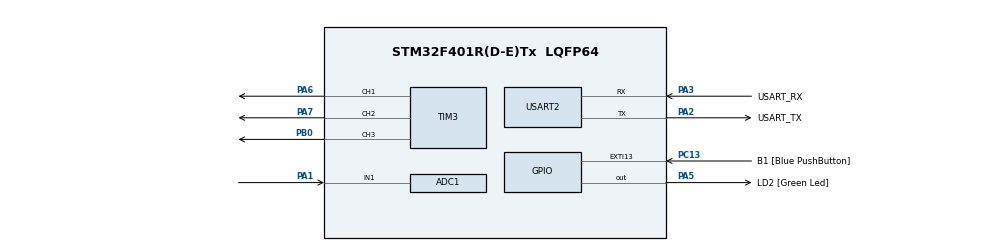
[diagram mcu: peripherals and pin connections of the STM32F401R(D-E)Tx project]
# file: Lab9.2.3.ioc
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ADC1.Channel-0\#ChannelRegularConversion=ADC_CHANNEL_1
ADC1.EOCSelection=ADC_EOC_SEQ_CONV
ADC1.ExternalTrigConv=ADC_SOFTWARE_START
ADC1.NbrOfConversionFlag=1
ADC1.Rank-0\#ChannelRegularConversion=1
ADC1.Resolution=ADC_RESOLUTION_8B
ADC1.SamplingTime-0\#ChannelRegularConversion=ADC_SAMPLETIME_3CYCLES
ADC1.master=1
Mcu.Family=STM32F4
Mcu.Name=STM32F401R(D-E)Tx
Mcu.Package=LQFP64
NVIC.ADC_IRQn=true\:0\:0\:false\:false\:true\:true\:true\:true
NVIC.EXTI15_10_IRQn=true\:0\:0\:false\:false\:true\:true\:true\:true
NVIC.PriorityGroup=NVIC_PRIORITYGROUP_1
NVIC.TIM3_IRQn=true\:0\:0\:false\:false\:true\:true\:true\:true
NVIC.TIM4_IRQn=true\:0\:0\:false\:false\:true\:true\:true\:true
PA1.Signal=ADCx_IN1
PA13.GPIO_Label=TMS
PA13.Mode=Trace_Asynchronous_SW
PA13.Signal=SYS_JTMS-SWDIO
PA14.GPIO_Label=TCK
PA14.Mode=Trace_Asynchronous_SW
PA14.Signal=SYS_JTCK-SWCLK
PA2.GPIO_Label=USART_TX
PA2.GPIO_Mode=GPIO_MODE_AF_PP
PA2.GPIO_PuPd=GPIO_NOPULL
PA2.GPIO_Speed=GPIO_SPEED_FREQ_LOW
PA2.Mode=Asynchronous
PA2.Signal=USART2_TX
PA3.GPIO_Label=USART_RX
PA3.GPIO_Mode=GPIO_MODE_AF_PP
PA3.GPIO_PuPd=GPIO_NOPULL
PA3.GPIO_Speed=GPIO_SPEED_FREQ_LOW
PA3.Mode=Asynchronous
PA3.Signal=USART2_RX
PA5.GPIO_Label=LD2 [Green Led]
PA5.GPIO_Mode=GPIO_MODE_OUTPUT_PP
PA5.GPIO_PuPd=GPIO_NOPULL
PA5.GPIO_Speed=GPIO_SPEED_FREQ_LOW
PA5.Signal=GPIO_Output
PA6.Signal=S_TIM3_CH1
PA7.Signal=S_TIM3_CH2
PB0.Signal=S_TIM3_CH3
PB3.GPIO_Label=SWO
PB3.Mode=Trace_Asynchronous_SW
PB3.Signal=SYS_JTDO-SWO
PC13-ANTI_TAMP.GPIO_Label=B1 [Blue PushButton]
PC13-ANTI_TAMP.GPIO_ModeDefaultEXTI=GPIO_MODE_IT_FALLING
PC13-ANTI_TAMP.GPIO_PuPd=GPIO_NOPULL
PC13-ANTI_TAMP.Signal=GPXTI13
PC14-OSC32_IN.Mode=LSE-External-Oscillator
PC14-OSC32_IN.Signal=RCC_OSC32_IN
PC15-OSC32_OUT.Mode=LSE-External-Oscillator
PC15-OSC32_OUT.Signal=RCC_OSC32_OUT
PH0\ -\ OSC_IN.Mode=HSE-External-Clock-Source
PH0\ -\ OSC_IN.Signal=RCC_OSC_IN
PH1\ -\ OSC_OUT.Mode=HSE-External-Clock-Source
PH1\ -\ OSC_OUT.Signal=RCC_OSC_OUT
ProjectManager.HeapSize=0x200
ProjectManager.StackSize=0x400
ProjectManager.TargetToolchain=STM32CubeIDE
RCC.48MHZClocksFreq_Value=48000000
RCC.AHBFreq_Value=84000000
RCC.APB1CLKDivider=RCC_HCLK_DIV2
RCC.APB1Freq_Value=42000000
RCC.APB1TimFreq_Value=84000000
RCC.APB2Freq_Value=84000000
RCC.APB2TimFreq_Value=84000000
RCC.CortexFreq_Value=84000000
RCC.HCLKFreq_Value=84000000
RCC.HSE_VALUE=8000000
RCC.HSI_VALUE=16000000
RCC.PLLN=336
RCC.PLLP=RCC_PLLP_DIV4
RCC.PLLQ=7
RCC.SYSCLKFreq_VALUE=84000000
RCC.SYSCLKSource=RCC_SYSCLKSOURCE_PLLCLK
RCC.VCOOutputFreq_Value=336000000
SH.ADCx_IN1.0=ADC1_IN1,IN1
SH.S_TIM3_CH1.0=TIM3_CH1,Output Compare1 CH1
SH.S_TIM3_CH2.0=TIM3_CH2,Output Compare2 CH2
SH.S_TIM3_CH3.0=TIM3_CH3,Output Compare3 CH3
TIM3.Channel-Output\ Compare1\ CH1=TIM_CHANNEL_1
TIM3.Channel-Output\ Compare2\ CH2=TIM_CHANNEL_2
TIM3.Channel-Output\ Compare3\ CH3=TIM_CHANNEL_3
TIM3.OCMode_1=TIM_OCMODE_TOGGLE
TIM3.OCMode_2=TIM_OCMODE_TOGGLE
TIM3.OCMode_3=TIM_OCMODE_TOGGLE
TIM4.Channel-Output\ Compare2\ No\ Output=TIM_CHANNEL_2
USART2.VirtualMode=VM_ASYNC
VP_TIM3_VS_ClockSourceINT.Mode=Internal
VP_TIM4_VS_ClockSourceINT.Mode=Internal
VP_TIM4_VS_no_output2.Mode=Output Compare2 No Output
board=NUCLEO-F401RE

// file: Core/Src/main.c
/* USER CODE BEGIN Header */
/**
 ******************************************************************************
 * @file           : main.c
 * @brief          : Main program body
 ******************************************************************************
 * @attention
 *
 * Copyright (c) 2025 STMicroelectronics.
 * All rights reserved.
 *
 * This software is licensed under terms that can be found in the LICENSE file
 * in the root directory of this software component.
 * If no LICENSE file comes with this software, it is provided AS-IS.
 *
 ******************************************************************************
 */
/* USER CODE END Header */
#include "main.h"

/* USER CODE BEGIN PV */
uint8_t scalingFactor = 0;
uint16_t voltage = 0;
/* USER CODE END PV */

void SystemClock_Config(void);
static void MX_GPIO_Init(void);
static void MX_USART2_UART_Init(void);
static void MX_ADC1_Init(void);
static void MX_TIM3_Init(void);
static void MX_TIM4_Init(void);

int main(void) {

	/* MCU Configuration--------------------------------------------------------*/

	/* Reset of all peripherals, Initializes the Flash interface and the Systick. */
	LL_APB2_GRP1_EnableClock(LL_APB2_GRP1_PERIPH_SYSCFG);
	LL_APB1_GRP1_EnableClock(LL_APB1_GRP1_PERIPH_PWR);

	/* System interrupt init*/
	NVIC_SetPriorityGrouping(NVIC_PRIORITYGROUP_1);

	/* Configure the system clock */
	SystemClock_Config();

	/* Initialize all configured peripherals */
	MX_GPIO_Init();
	MX_USART2_UART_Init();
	MX_ADC1_Init();
	MX_TIM3_Init();
	MX_TIM4_Init();
	/* USER CODE BEGIN 2 */

	// ---- START TIM3 configuration ----
	LL_TIM_WriteReg(TIM3, PSC, 83);	// Prescaler value
	LL_TIM_WriteReg(TIM3, ARR, 0xFFFF);	// ARR value
	LL_TIM_WriteReg(TIM3, DIER, LL_TIM_ReadReg(TIM3,DIER) | 0b01110);// Enable interrupt for CC1, CC2 and CC3
	LL_TIM_WriteReg(TIM3, CCER, LL_TIM_ReadReg(TIM3, CCER) | 0x0111); // Enable CC1, CC2 and CC3

	LL_TIM_WriteReg(TIM3, CCR1, INTERVAL3 -1);		// Init CCR1
	LL_TIM_WriteReg(TIM3, CCR2, INTERVAL2 -1);		// Init CCR2
	LL_TIM_WriteReg(TIM3, CCR3, INTERVAL1 -1);		// Init CCR3
	// ---- END TIM3 configuration ----

	// ---- START TIM4 configuration ----
	LL_TIM_WriteReg(TIM4, PSC, 41999);	// Prescaler value
	LL_TIM_WriteReg(TIM4, ARR, 0xFFFF);	// ARR value
	LL_TIM_WriteReg(TIM4, DIER, LL_TIM_ReadReg(TIM4,DIER) | 0b0100);// Enable interrupt for CC2
	LL_TIM_WriteReg(TIM4, CCER, LL_TIM_ReadReg(TIM4, CCER) | 0x0010); // Enable CC2
	//LL_TIM_WriteReg(TIM4, CCMR1,LL_TIM_ReadReg(TIM4, CCMR1) | 0b00110000);

	LL_TIM_WriteReg(TIM4, CCR2, ADCINTERVAL -1);		// Init CCR2
	// ---- END TIM3 configuration ----

	// ---- START ADC1 configuration ----
	LL_ADC_WriteReg(ADC1, CR2, LL_ADC_ReadReg(ADC1,CR2) | 0x01); // Enable ADC1
	// ---- END ADC1 configuration ----

	// Enable peripherals
	LL_TIM_WriteReg(TIM3, CR1, LL_TIM_ReadReg(TIM3,CR1) | 0x01);
	LL_TIM_WriteReg(TIM4, CR1, LL_TIM_ReadReg(TIM4,CR1) | 0x01);

	/* USER CODE END 2 */

	/* Infinite loop */
	/* USER CODE BEGIN WHILE */
	while (1) {

		if ((LL_ADC_ReadReg(ADC1,SR) & 0x02) == 0x02) {
			voltage = LL_ADC_ReadReg(ADC1, DR) & 0x00FF;// Get converted value
			scalingFactor = 1 + (voltage * (10 - 1)) / 255;
			LL_ADC_WriteReg(ADC1, SR, LL_ADC_ReadReg(ADC1,SR) & (~0x02));// Clear EOC
		}

		/* USER CODE END WHILE */

	}
}

void SystemClock_Config(void) {
	LL_FLASH_SetLatency(LL_FLASH_LATENCY_2);
	while (LL_FLASH_GetLatency() != LL_FLASH_LATENCY_2) {
	}
	LL_PWR_SetRegulVoltageScaling(LL_PWR_REGU_VOLTAGE_SCALE2);
	LL_RCC_HSI_SetCalibTrimming(16);
	LL_RCC_HSI_Enable();

	/* Wait till HSI is ready */
	while (LL_RCC_HSI_IsReady() != 1) {

	}
	LL_RCC_PLL_ConfigDomain_SYS(LL_RCC_PLLSOURCE_HSI, LL_RCC_PLLM_DIV_16, 336,
			LL_RCC_PLLP_DIV_4);
	LL_RCC_PLL_Enable();

	/* Wait till PLL is ready */
	while (LL_RCC_PLL_IsReady() != 1) {

	}
	while (LL_PWR_IsActiveFlag_VOS() == 0) {
	}
	LL_RCC_SetAHBPrescaler(LL_RCC_SYSCLK_DIV_1);
	LL_RCC_SetAPB1Prescaler(LL_RCC_APB1_DIV_2);
	LL_RCC_SetAPB2Prescaler(LL_RCC_APB2_DIV_1);
	LL_RCC_SetSysClkSource(LL_RCC_SYS_CLKSOURCE_PLL);

	/* Wait till System clock is ready */
	while (LL_RCC_GetSysClkSource() != LL_RCC_SYS_CLKSOURCE_STATUS_PLL) {

	}
	LL_Init1msTick(84000000);
	LL_SetSystemCoreClock(84000000);
	LL_RCC_SetTIMPrescaler(LL_RCC_TIM_PRESCALER_TWICE);
}

static void MX_ADC1_Init(void) {

	LL_ADC_InitTypeDef ADC_InitStruct = { 0 };
	LL_ADC_REG_InitTypeDef ADC_REG_InitStruct = { 0 };
	LL_ADC_CommonInitTypeDef ADC_CommonInitStruct = { 0 };

	LL_GPIO_InitTypeDef GPIO_InitStruct = { 0 };

	/* Peripheral clock enable */
	LL_APB2_GRP1_EnableClock(LL_APB2_GRP1_PERIPH_ADC1);

	LL_AHB1_GRP1_EnableClock(LL_AHB1_GRP1_PERIPH_GPIOA);
	/**ADC1 GPIO Configuration
	 PA1   ------> ADC1_IN1
	 */
	GPIO_InitStruct.Pin = LL_GPIO_PIN_1;
	GPIO_InitStruct.Mode = LL_GPIO_MODE_ANALOG;
	GPIO_InitStruct.Pull = LL_GPIO_PULL_NO;
	LL_GPIO_Init(GPIOA, &GPIO_InitStruct);

	/* ADC1 interrupt Init */
	NVIC_SetPriority(ADC_IRQn,
			NVIC_EncodePriority(NVIC_GetPriorityGrouping(), 0, 0));
	NVIC_EnableIRQ(ADC_IRQn);

	/** Common config
	 */
	ADC_InitStruct.Resolution = LL_ADC_RESOLUTION_8B;
	ADC_InitStruct.DataAlignment = LL_ADC_DATA_ALIGN_RIGHT;
	ADC_InitStruct.SequencersScanMode = LL_ADC_SEQ_SCAN_DISABLE;
	LL_ADC_Init(ADC1, &ADC_InitStruct);
	ADC_REG_InitStruct.TriggerSource = LL_ADC_REG_TRIG_SOFTWARE;
	ADC_REG_InitStruct.SequencerLength = LL_ADC_REG_SEQ_SCAN_DISABLE;
	ADC_REG_InitStruct.SequencerDiscont = LL_ADC_REG_SEQ_DISCONT_DISABLE;
	ADC_REG_InitStruct.ContinuousMode = LL_ADC_REG_CONV_SINGLE;
	ADC_REG_InitStruct.DMATransfer = LL_ADC_REG_DMA_TRANSFER_NONE;
	LL_ADC_REG_Init(ADC1, &ADC_REG_InitStruct);
	LL_ADC_REG_SetFlagEndOfConversion(ADC1, LL_ADC_REG_FLAG_EOC_SEQUENCE_CONV);
	ADC_CommonInitStruct.CommonClock = LL_ADC_CLOCK_SYNC_PCLK_DIV4;
	LL_ADC_CommonInit(__LL_ADC_COMMON_INSTANCE(ADC1), &ADC_CommonInitStruct);

	/** Configure Regular Channel
	 */
	LL_ADC_REG_SetSequencerRanks(ADC1, LL_ADC_REG_RANK_1, LL_ADC_CHANNEL_1);
	LL_ADC_SetChannelSamplingTime(ADC1, LL_ADC_CHANNEL_1,
			LL_ADC_SAMPLINGTIME_3CYCLES);

}

static void MX_TIM3_Init(void) {

	LL_TIM_InitTypeDef TIM_InitStruct = { 0 };
	LL_TIM_OC_InitTypeDef TIM_OC_InitStruct = { 0 };

	LL_GPIO_InitTypeDef GPIO_InitStruct = { 0 };

	/* Peripheral clock enable */
	LL_APB1_GRP1_EnableClock(LL_APB1_GRP1_PERIPH_TIM3);

	/* TIM3 interrupt Init */
	NVIC_SetPriority(TIM3_IRQn,
			NVIC_EncodePriority(NVIC_GetPriorityGrouping(), 0, 0));
	NVIC_EnableIRQ(TIM3_IRQn);

	TIM_InitStruct.Prescaler = 0;
	TIM_InitStruct.CounterMode = LL_TIM_COUNTERMODE_UP;
	TIM_InitStruct.Autoreload = 65535;
	TIM_InitStruct.ClockDivision = LL_TIM_CLOCKDIVISION_DIV1;
	LL_TIM_Init(TIM3, &TIM_InitStruct);
	LL_TIM_DisableARRPreload(TIM3);
	LL_TIM_SetClockSource(TIM3, LL_TIM_CLOCKSOURCE_INTERNAL);
	TIM_OC_InitStruct.OCMode = LL_TIM_OCMODE_TOGGLE;
	TIM_OC_InitStruct.OCState = LL_TIM_OCSTATE_DISABLE;
	TIM_OC_InitStruct.OCNState = LL_TIM_OCSTATE_DISABLE;
	TIM_OC_InitStruct.CompareValue = 0;
	TIM_OC_InitStruct.OCPolarity = LL_TIM_OCPOLARITY_HIGH;
	LL_TIM_OC_Init(TIM3, LL_TIM_CHANNEL_CH1, &TIM_OC_InitStruct);
	LL_TIM_OC_DisableFast(TIM3, LL_TIM_CHANNEL_CH1);
	LL_TIM_OC_Init(TIM3, LL_TIM_CHANNEL_CH2, &TIM_OC_InitStruct);
	LL_TIM_OC_DisableFast(TIM3, LL_TIM_CHANNEL_CH2);
	LL_TIM_OC_Init(TIM3, LL_TIM_CHANNEL_CH3, &TIM_OC_InitStruct);
	LL_TIM_OC_DisableFast(TIM3, LL_TIM_CHANNEL_CH3);
	LL_TIM_SetTriggerOutput(TIM3, LL_TIM_TRGO_RESET);
	LL_TIM_DisableMasterSlaveMode(TIM3);
	LL_AHB1_GRP1_EnableClock(LL_AHB1_GRP1_PERIPH_GPIOA);
	LL_AHB1_GRP1_EnableClock(LL_AHB1_GRP1_PERIPH_GPIOB);
	/**TIM3 GPIO Configuration
	 PA6   ------> TIM3_CH1
	 PA7   ------> TIM3_CH2
	 PB0   ------> TIM3_CH3
	 */
	GPIO_InitStruct.Pin = LL_GPIO_PIN_6 | LL_GPIO_PIN_7;
	GPIO_InitStruct.Mode = LL_GPIO_MODE_ALTERNATE;
	GPIO_InitStruct.Speed = LL_GPIO_SPEED_FREQ_LOW;
	GPIO_InitStruct.OutputType = LL_GPIO_OUTPUT_PUSHPULL;
	GPIO_InitStruct.Pull = LL_GPIO_PULL_NO;
	GPIO_InitStruct.Alternate = LL_GPIO_AF_2;
	LL_GPIO_Init(GPIOA, &GPIO_InitStruct);

	GPIO_InitStruct.Pin = LL_GPIO_PIN_0;
	GPIO_InitStruct.Mode = LL_GPIO_MODE_ALTERNATE;
	GPIO_InitStruct.Speed = LL_GPIO_SPEED_FREQ_LOW;
	GPIO_InitStruct.OutputType = LL_GPIO_OUTPUT_PUSHPULL;
	GPIO_InitStruct.Pull = LL_GPIO_PULL_NO;
	GPIO_InitStruct.Alternate = LL_GPIO_AF_2;
	LL_GPIO_Init(GPIOB, &GPIO_InitStruct);

}

static void MX_TIM4_Init(void) {

	LL_TIM_InitTypeDef TIM_InitStruct = { 0 };
	LL_TIM_OC_InitTypeDef TIM_OC_InitStruct = { 0 };

	/* Peripheral clock enable */
	LL_APB1_GRP1_EnableClock(LL_APB1_GRP1_PERIPH_TIM4);

	/* TIM4 interrupt Init */
	NVIC_SetPriority(TIM4_IRQn,
			NVIC_EncodePriority(NVIC_GetPriorityGrouping(), 0, 0));
	NVIC_EnableIRQ(TIM4_IRQn);

	TIM_InitStruct.Prescaler = 0;
	TIM_InitStruct.CounterMode = LL_TIM_COUNTERMODE_UP;
	TIM_InitStruct.Autoreload = 65535;
	TIM_InitStruct.ClockDivision = LL_TIM_CLOCKDIVISION_DIV1;
	LL_TIM_Init(TIM4, &TIM_InitStruct);
	LL_TIM_DisableARRPreload(TIM4);
	LL_TIM_SetClockSource(TIM4, LL_TIM_CLOCKSOURCE_INTERNAL);
	TIM_OC_InitStruct.OCMode = LL_TIM_OCMODE_FROZEN;
	TIM_OC_InitStruct.OCState = LL_TIM_OCSTATE_DISABLE;
	TIM_OC_InitStruct.OCNState = LL_TIM_OCSTATE_DISABLE;
	TIM_OC_InitStruct.CompareValue = 0;
	TIM_OC_InitStruct.OCPolarity = LL_TIM_OCPOLARITY_HIGH;
	LL_TIM_OC_Init(TIM4, LL_TIM_CHANNEL_CH2, &TIM_OC_InitStruct);
	LL_TIM_OC_DisableFast(TIM4, LL_TIM_CHANNEL_CH2);
	LL_TIM_SetTriggerOutput(TIM4, LL_TIM_TRGO_RESET);
	LL_TIM_DisableMasterSlaveMode(TIM4);

}

static void MX_USART2_UART_Init(void) {

	LL_USART_InitTypeDef USART_InitStruct = { 0 };

	LL_GPIO_InitTypeDef GPIO_InitStruct = { 0 };

	/* Peripheral clock enable */
	LL_APB1_GRP1_EnableClock(LL_APB1_GRP1_PERIPH_USART2);

	LL_AHB1_GRP1_EnableClock(LL_AHB1_GRP1_PERIPH_GPIOA);
	/**USART2 GPIO Configuration
	 PA2   ------> USART2_TX
	 PA3   ------> USART2_RX
	 */
	GPIO_InitStruct.Pin = USART_TX_Pin | USART_RX_Pin;
	GPIO_InitStruct.Mode = LL_GPIO_MODE_ALTERNATE;
	GPIO_InitStruct.Speed = LL_GPIO_SPEED_FREQ_LOW;
	GPIO_InitStruct.OutputType = LL_GPIO_OUTPUT_PUSHPULL;
	GPIO_InitStruct.Pull = LL_GPIO_PULL_NO;
	GPIO_InitStruct.Alternate = LL_GPIO_AF_7;
	LL_GPIO_Init(GPIOA, &GPIO_InitStruct);

	USART_InitStruct.BaudRate = 115200;
	USART_InitStruct.DataWidth = LL_USART_DATAWIDTH_8B;
	USART_InitStruct.StopBits = LL_USART_STOPBITS_1;
	USART_InitStruct.Parity = LL_USART_PARITY_NONE;
	USART_InitStruct.TransferDirection = LL_USART_DIRECTION_TX_RX;
	USART_InitStruct.HardwareFlowControl = LL_USART_HWCONTROL_NONE;
	USART_InitStruct.OverSampling = LL_USART_OVERSAMPLING_16;
	LL_USART_Init(USART2, &USART_InitStruct);
	LL_USART_ConfigAsyncMode(USART2);
	LL_USART_Enable(USART2);

}

static void MX_GPIO_Init(void) {
	LL_EXTI_InitTypeDef EXTI_InitStruct = { 0 };
	LL_GPIO_InitTypeDef GPIO_InitStruct = { 0 };

	/* GPIO Ports Clock Enable */
	LL_AHB1_GRP1_EnableClock(LL_AHB1_GRP1_PERIPH_GPIOC);
	LL_AHB1_GRP1_EnableClock(LL_AHB1_GRP1_PERIPH_GPIOH);
	LL_AHB1_GRP1_EnableClock(LL_AHB1_GRP1_PERIPH_GPIOA);
	LL_AHB1_GRP1_EnableClock(LL_AHB1_GRP1_PERIPH_GPIOB);

	/**/
	LL_GPIO_ResetOutputPin(LD2_GPIO_Port, LD2_Pin);

	/**/
	LL_SYSCFG_SetEXTISource(LL_SYSCFG_EXTI_PORTC, LL_SYSCFG_EXTI_LINE13);

	/**/
	EXTI_InitStruct.Line_0_31 = LL_EXTI_LINE_13;
	EXTI_InitStruct.LineCommand = ENABLE;
	EXTI_InitStruct.Mode = LL_EXTI_MODE_IT;
	EXTI_InitStruct.Trigger = LL_EXTI_TRIGGER_FALLING;
	LL_EXTI_Init(&EXTI_InitStruct);

	/**/
	LL_GPIO_SetPinPull(B1_GPIO_Port, B1_Pin, LL_GPIO_PULL_NO);

	/**/
	LL_GPIO_SetPinMode(B1_GPIO_Port, B1_Pin, LL_GPIO_MODE_INPUT);

	/**/
	GPIO_InitStruct.Pin = LD2_Pin;
	GPIO_InitStruct.Mode = LL_GPIO_MODE_OUTPUT;
	GPIO_InitStruct.Speed = LL_GPIO_SPEED_FREQ_LOW;
	GPIO_InitStruct.OutputType = LL_GPIO_OUTPUT_PUSHPULL;
	GPIO_InitStruct.Pull = LL_GPIO_PULL_NO;
	LL_GPIO_Init(LD2_GPIO_Port, &GPIO_InitStruct);

	/* EXTI interrupt init*/
	NVIC_SetPriority(EXTI15_10_IRQn,
			NVIC_EncodePriority(NVIC_GetPriorityGrouping(), 0, 0));
	NVIC_EnableIRQ(EXTI15_10_IRQn);

}

void Error_Handler(void) {
	__disable_irq();
	while (1) {
	}
}
